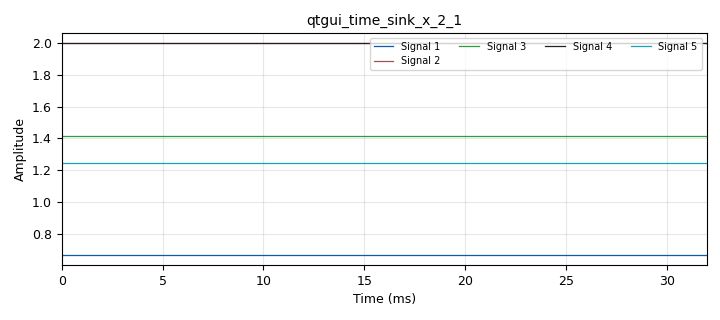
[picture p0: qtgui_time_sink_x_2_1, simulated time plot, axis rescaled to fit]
options:
  parameters:
    author: Daniel_Brandon
    generate_options: qt_gui
    id: Practica1
    output_language: python
    title: Promedios de tiempo
  states: {}

blocks:
- name: samp_rate
  id: variable
  parameters:
    value: '32000'
  states: {}
- name: blocks_vector_source_x_0
  id: blocks_vector_source_x
  parameters:
    repeat: 'True'
    type: float
    vector: (1, 2, -1)
  states: {}
- name: epy_block_0
  id: epy_block
  parameters:
    _source_code: "import numpy as np\nfrom gnuradio import gr\n\nclass blk(gr.sync_block):\n    def __init__(self):\n        gr.sync_block.__init__(\n            self,\n            name='Promedios_de_tiempos',\n            in_sig=[np.float32],\n            out_sig=[np.float32, np.float32, np.float32, np.float32, np.float32]\n        )\n        self.acum_sum = 0.0\n        self.acum_sq_sum = 0.0\n        self.acum_var_sum = 0.0\n        self.N_total = 0\n\n    def work(self, input_items, output_items):\n        x = input_items[0]\n        N = len(x)\n\n        self.N_total += N\n\n        # Promedio\n        suma = np.sum(x)\n        self.acum_sum += suma\n        media = self.acum_sum / self.N_total\n\n        # Media Cuadrática\n        x2 = np.square(x)\n        suma_x2 = np.sum(x2)\n        self.acum_sq_sum += suma_x2\n        media_cuad = self.acum_sq_sum / self.N_total\n\n        # RMS\n        rms = np.sqrt(media_cuad)\n\n        # Potencia promedio (igual a media cuadrática)\n        potencia = media_cuad\n\n        # Desviación estándar\n        suma_var = np.sum((x - media) ** 2)\n        self.acum_var_sum += suma_var\n        desviacion = np.sqrt(self.acum_var_sum / self.N_total)\n\n        # Salidas: solo una muestra por salida\n        output_items[0][0] = media\n        output_items[1][0] = media_cuad\n        output_items[2][0] = rms\n        output_items[3][0] = potencia\n        output_items[4][0] = desviacion\n\n        return 1\n\n"
  states: {}
- name: qtgui_number_sink_0
  id: qtgui_number_sink
  parameters:
    graph_type: qtgui.NUM_GRAPH_HORIZ
    name: '"Media"'
    type: float
  states: {}
- name: qtgui_number_sink_0_0
  id: qtgui_number_sink
  parameters:
    graph_type: qtgui.NUM_GRAPH_HORIZ
    name: '"Desviación Estandar"'
    type: float
  states: {}
- name: qtgui_number_sink_0_1
  id: qtgui_number_sink
  parameters:
    graph_type: qtgui.NUM_GRAPH_HORIZ
    name: '"Potencia Promedio"'
    type: float
  states: {}
- name: qtgui_number_sink_0_2
  id: qtgui_number_sink
  parameters:
    graph_type: qtgui.NUM_GRAPH_HORIZ
    name: '"Media Cuadratica"'
    type: float
  states: {}
- name: qtgui_number_sink_0_3
  id: qtgui_number_sink
  parameters:
    graph_type: qtgui.NUM_GRAPH_HORIZ
    name: '"RMS"'
    type: float
  states: {}
- name: qtgui_time_sink_x_2_1
  id: qtgui_time_sink_x
  parameters:
    nconnections: '5'
    size: '1024'
    srate: samp_rate
    type: float
  states: {}

connections:
- [blocks_vector_source_x_0, '0', epy_block_0, '0']
- [epy_block_0, '0', qtgui_number_sink_0, '0']
- [epy_block_0, '0', qtgui_time_sink_x_2_1, '0']
- [epy_block_0, '1', qtgui_number_sink_0_2, '0']
- [epy_block_0, '1', qtgui_time_sink_x_2_1, '1']
- [epy_block_0, '2', qtgui_number_sink_0_3, '0']
- [epy_block_0, '2', qtgui_time_sink_x_2_1, '2']
- [epy_block_0, '3', qtgui_number_sink_0_1, '0']
- [epy_block_0, '3', qtgui_time_sink_x_2_1, '3']
- [epy_block_0, '4', qtgui_number_sink_0_0, '0']
- [epy_block_0, '4', qtgui_time_sink_x_2_1, '4']

metadata:
  file_format: 1
  grc_version: v3.10.11.0-89-ga17f69e7
